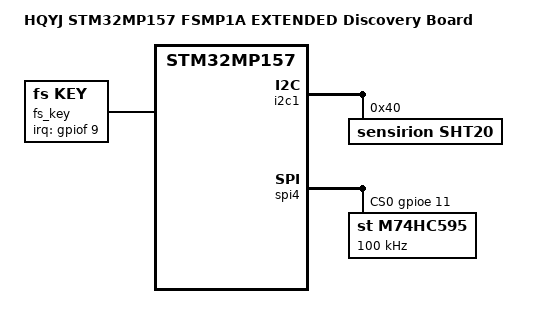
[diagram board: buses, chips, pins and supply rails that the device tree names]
// SPDX-License-Identifier: (GPL-2.0+ OR BSD-3-Clause)
/*
 * Copyright (C) Farsight 2018 - All Rights Reserved
 */

/dts-v1/;

#include "stm32mp157a-fsmp1a.dts"

/ {
    model = "HQYJ STM32MP157 FSMP1A EXTENDED Discovery Board";
    compatible = "st,stm32mp157a-fsmp1a-extended", "st,stm32mp157";

	fs_test {
		compatible = "fs,test";
		test-u32 = <12>;
		test-u32-array = <123 124 125>;
		test-string = "hello";
		test-string-array = "hello", "world";
	};

	fs_key {
		compatible = "fs,key";
		interrupt-parent = <&gpiof>;
		interrupts = <9 IRQ_TYPE_EDGE_FALLING>;
	};

	fs_led {
		compatible = "fs,led";
		reg = <0x54004000 0xff>;
	};
};


&i2c1 {
	pinctrl-names = "default", "sleep";
	pinctrl-0 = <&i2c1_pins_b>;
	pinctrl-1 = <&i2c1_pins_sleep_b>;
	i2c-scl-rising-time-ns = <100>;
	i2c-scl-falling-time-ns = <7>;
	status = "okay";
	/delete-property/dmas;
	/delete-property/dma-names;

	sht20: sht20@40 {
		compatible = "sensirion,sht20";
		reg = <0x40>;
	};
};

&spi4 {
	pinctrl-names = "default", "sleep";
	pinctrl-0 = <&spi4_pins_a>;
	pinctrl-1 = <&spi4_sleep_pins_a>;
	cs-gpios = <&gpioe 11 0>;
	status = "okay";

#if 0
	spidev: spidev@0 {
		compatible = "ge,achc";
		reg = <0>;
		spi-max-frequency = <100000>;
	};
#endif

	m74hc595: m74hc595@0 {
		compatible = "st,m74hc595";
		reg = <0>;
		spi-max-frequency = <100000>;
	};
};

